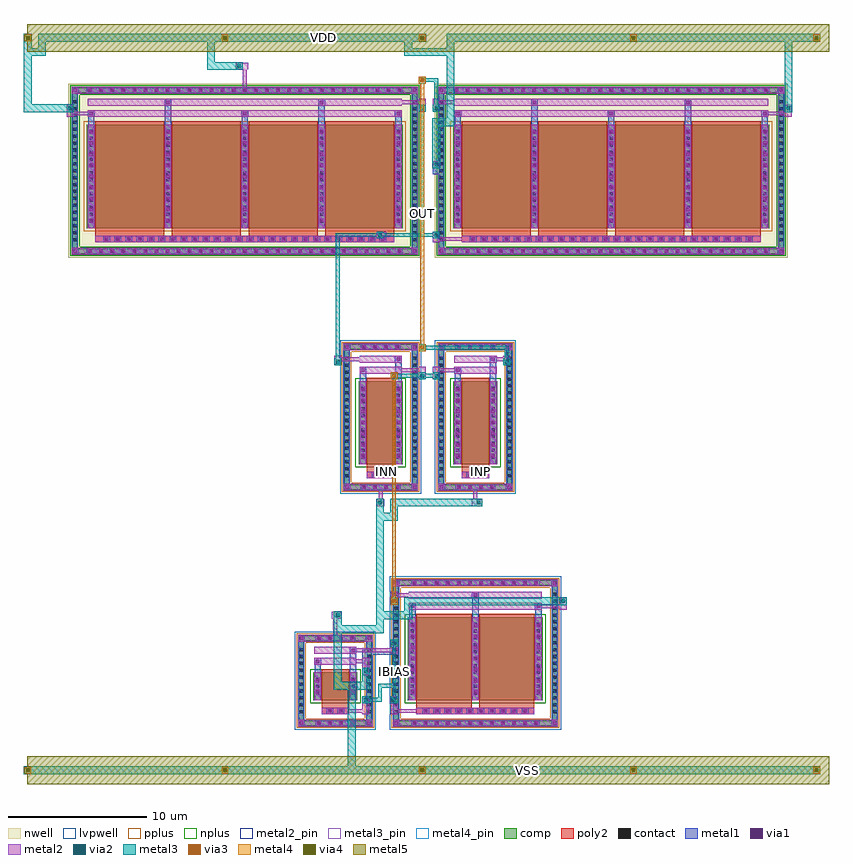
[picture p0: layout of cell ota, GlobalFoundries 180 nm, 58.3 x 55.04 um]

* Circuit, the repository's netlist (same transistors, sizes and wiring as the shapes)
* ox-alpha OTA -- 5T NMOS-input OTA, PMOS mirror load, IBIAS-driven tail
* topology: differential pair XM1/XM2, mirror load XM3/XM4,
* tail XMTAIL mirrored from external IBIAS via diode XMBIAS
.lib "{PDK_LIB}" typical
.subckt ota VDD VSS INP INN OUT IBIAS
XMBIAS IBIAS IBIAS VSS VSS nfet_03v3 W=2.0u L=2.0u nf=1
XMTAIL tail IBIAS VSS VSS nfet_03v3 W=12.0u L=4.0u nf=2
XM1 n1 INN tail VSS nfet_03v3 W=6.0u L=2.0u nf=1
XM2 OUT INP tail VSS nfet_03v3 W=6.0u L=2.0u nf=1
XM3 n1 n1 VDD VDD pfet_03v3 W=30.0u L=5.0u nf=4
XM4 OUT n1 VDD VDD pfet_03v3 W=30.0u L=5.0u nf=4
.ends

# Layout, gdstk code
import gdstk
lib = gdstk.Library(unit=1e-6, precision=1e-09)
def R(c, l, rs):  # rectangles x0, y0, x1, y1
    for r in rs: c.add(gdstk.rectangle(r[:2], r[2:], *l))
def A(c, l, x, y, w, h, nx, ny, dx, dy):  # array of equal rectangles
    R(c, l, [(x+i*dx, y+j*dy, x+i*dx+w, y+j*dy+h) for i in range(nx) for j in range(ny)])
def P(c, l, *ps):  # polygons
    for p in ps: c.add(gdstk.Polygon(p, *l))
nwell = (21, 0)
comp = (22, 0)
poly2 = (30, 0)
pplus = (31, 0)
nplus = (32, 0)
contact = (33, 0)
metal1 = (34, 0)
via1 = (35, 0)
metal2 = (36, 0)
metal2_pin = (36, 10)
via2 = (38, 0)
via3 = (40, 0)
via4 = (41, 0)
metal3 = (42, 0)
metal3_pin = (42, 10)
metal4 = (46, 0)
metal4_pin = (46, 10)
metal5 = (81, 0)
lvpwell = (204, 0)

ota = lib.new_cell('ota')
R(ota, nwell, [(-26.04,34.18,-0.5,46.77), (0.5,34.18,26.04,46.77)])
A(ota, comp, -8.09, 0.28, 0.36, 0.36, 4, 2, 0.8, 6.17)
A(ota, comp, -1.15, 0.28, 0.36, 0.36, 12, 2, 0.8, 10.17)
A(ota, comp, -9.36, 1.115, 0.36, 0.36, 1, 10, 0, 0.5)
A(ota, comp, -4.42, 1.115, 0.36, 0.36, 1, 10, 0, 0.5)
A(ota, comp, -2.5, 1.115, 0.36, 0.36, 1, 18, 0, 0.5)
A(ota, comp, 9, 1.115, 0.36, 0.36, 1, 18, 0, 0.5)
A(ota, comp, -4.81, 17.37, 0.36, 0.36, 4, 2, 0.8, 10.17)
A(ota, comp, 2.05, 17.37, 0.36, 0.36, 4, 2, 0.8, 10.17)
A(ota, comp, -6.08, 18.205, 0.36, 0.36, 1, 18, 0, 0.5)
A(ota, comp, -1.14, 18.205, 0.36, 0.36, 1, 18, 0, 0.5)
A(ota, comp, 0.78, 18.205, 0.36, 0.36, 1, 18, 0, 0.5)
A(ota, comp, 5.72, 18.205, 0.36, 0.36, 1, 18, 0, 0.5)
A(ota, comp, -24.65, 34.46, 0.36, 0.36, 29, 2, 0.8, 11.67)
A(ota, comp, 1.89, 34.46, 0.36, 0.36, 29, 2, 0.8, 11.67)
A(ota, comp, -25.76, 35.295, 0.36, 0.36, 1, 21, 0, 0.5)
A(ota, comp, -1.14, 35.295, 0.36, 0.36, 1, 21, 0, 0.5)
A(ota, comp, 0.78, 35.295, 0.36, 0.36, 1, 21, 0, 0.5)
A(ota, comp, 25.4, 35.295, 0.36, 0.36, 1, 21, 0, 0.5)
R(ota, comp, [(-8.09,0.28,-5.33,0.64), (-1.15,0.28,8.01,0.64), (-9.36,1.115,-9,5.975), (-4.42,1.115,-4.06,5.975), (-2.5,1.115,-2.14,9.975), (9,1.115,9.36,9.975), (-8.31,2.14,-5.11,4.14), (-1.45,2.14,8.31,8.14), (-8.09,6.45,-5.33,6.81), (-1.15,10.45,8.01,10.81), (-4.81,17.37,-2.05,17.73), (2.05,17.37,4.81,17.73), (-6.08,18.205,-5.72,27.065), (-1.14,18.205,-0.78,27.065), (0.78,18.205,1.14,27.065), (5.72,18.205,6.08,27.065), (-5.03,19.23,-1.83,25.23), (1.83,19.23,5.03,25.23), (-4.81,27.54,-2.05,27.9), (2.05,27.54,4.81,27.9), (-24.65,34.46,-1.89,34.82), (1.89,34.46,24.65,34.82), (-25.76,35.295,-25.4,45.655), (-1.14,35.295,-0.78,45.655), (0.78,35.295,1.14,45.655), (25.4,35.295,25.76,45.655), (-24.71,36.32,-1.83,43.82), (1.83,36.32,24.71,43.82), (-24.65,46.13,-1.89,46.49), (1.89,46.13,24.65,46.49)])
P(ota, comp, [(-4.06,6.81),(-9.36,6.81),(-9.36,0.64),(-9,0.64),(-9,6.45),(-4.42,6.45),(-4.42,0.64),(-9,0.64),(-9.36,0.64),(-9.36,0.28),(-4.06,0.28)],
  [(25.76,46.49),(0.78,46.49),(0.78,34.82),(1.14,34.82),(1.14,46.13),(25.4,46.13),(25.4,34.82),(1.14,34.82),(0.78,34.82),(0.78,34.46),(25.76,34.46)],
  [(-0.78,46.49),(-25.76,46.49),(-25.76,34.82),(-25.4,34.82),(-25.4,46.13),(-1.14,46.13),(-1.14,34.82),(-25.4,34.82),(-25.76,34.82),(-25.76,34.46),(-0.78,34.46)],
  [(6.08,27.9),(0.78,27.9),(0.78,17.73),(1.14,17.73),(1.14,27.54),(5.72,27.54),(5.72,17.73),(1.14,17.73),(0.78,17.73),(0.78,17.37),(6.08,17.37)],
  [(-0.78,27.9),(-6.08,27.9),(-6.08,17.73),(-5.72,17.73),(-5.72,27.54),(-1.14,27.54),(-1.14,17.73),(-5.72,17.73),(-6.08,17.73),(-6.08,17.37),(-0.78,17.37)],
  [(9.36,10.81),(-2.5,10.81),(-2.5,0.64),(-2.14,0.64),(-2.14,10.45),(9,10.45),(9,0.64),(-2.14,0.64),(-2.5,0.64),(-2.5,0.28),(9.36,0.28)])
A(ota, poly2, -0.35, 1.17, 0.36, 0.36, 10, 1, 0.8, 0)
A(ota, poly2, -23.45, 35.35, 0.36, 0.36, 26, 1, 0.8, 0)
A(ota, poly2, 3.09, 35.35, 0.36, 0.36, 26, 1, 0.8, 0)
A(ota, poly2, -24.11, 35.78, 5, 0.3, 4, 1, 5.56, 0)
A(ota, poly2, 2.43, 35.78, 5, 0.3, 4, 1, 5.56, 0)
A(ota, poly2, -24.11, 36.08, 5, 7.98, 4, 1, 5.56, 0)
A(ota, poly2, 2.43, 36.08, 5, 7.98, 4, 1, 5.56, 0)
R(ota, poly2, [(-7.71,1.1,-5.71,1.6), (-0.85,1.1,7.71,1.6), (-7.29,1.17,-6.93,1.53), (-6.49,1.17,-6.13,1.53), (-7.71,1.6,-5.71,1.9), (-0.85,1.6,3.15,1.9), (3.71,1.6,7.71,1.9), (-7.71,1.9,-5.71,4.38), (-0.85,1.9,3.15,8.38), (3.71,1.9,7.71,8.38), (-4.43,18.19,-2.43,18.69), (2.43,18.19,4.43,18.69), (-4.01,18.26,-3.65,18.62), (-3.21,18.26,-2.85,18.62), (2.85,18.26,3.21,18.62), (3.65,18.26,4.01,18.62), (-4.43,18.69,-2.43,18.99), (2.43,18.69,4.43,18.99), (-4.43,18.99,-2.43,25.47), (2.43,18.99,4.43,25.47), (-24.11,35.28,-2.43,35.78), (2.43,35.28,24.11,35.78)])
R(ota, pplus, [(-24.94,36.09,-1.6,44.05), (1.6,36.09,24.94,44.05)])
P(ota, pplus, [(-3.9,6.97),(-9.52,6.97),(-9.52,0.8),(-8.84,0.8),(-8.84,6.29),(-4.58,6.29),(-4.58,0.8),(-8.84,0.8),(-9.52,0.8),(-9.52,0.12),(-3.9,0.12)],
  [(6.24,28.06),(0.62,28.06),(0.62,17.89),(1.3,17.89),(1.3,27.38),(5.56,27.38),(5.56,17.89),(1.3,17.89),(0.62,17.89),(0.62,17.21),(6.24,17.21)],
  [(-0.62,28.06),(-6.24,28.06),(-6.24,17.89),(-5.56,17.89),(-5.56,27.38),(-1.3,27.38),(-1.3,17.89),(-5.56,17.89),(-6.24,17.89),(-6.24,17.21),(-0.62,17.21)],
  [(9.52,10.97),(-2.66,10.97),(-2.66,0.8),(-1.98,0.8),(-1.98,10.29),(8.84,10.29),(8.84,0.8),(-1.98,0.8),(-2.66,0.8),(-2.66,0.12),(9.52,0.12)])
R(ota, nplus, [(-8.54,1.91,-4.88,4.37), (-1.68,1.91,8.54,8.37), (-5.26,19,-1.6,25.46), (1.6,19,5.26,25.46)])
P(ota, nplus, [(25.92,46.65),(0.62,46.65),(0.62,34.98),(1.3,34.98),(1.3,45.97),(25.24,45.97),(25.24,34.98),(1.3,34.98),(0.62,34.98),(0.62,34.3),(25.92,34.3)],
  [(-0.62,46.65),(-25.92,46.65),(-25.92,34.98),(-25.24,34.98),(-25.24,45.97),(-1.3,45.97),(-1.3,34.98),(-25.24,34.98),(-25.92,34.98),(-25.92,34.3),(-0.62,34.3)])
A(ota, contact, -8.02, 0.35, 0.22, 0.22, 4, 2, 0.8, 6.17)
A(ota, contact, -1.08, 0.35, 0.22, 0.22, 12, 2, 0.8, 10.17)
A(ota, contact, -9.29, 1.185, 0.22, 0.22, 1, 10, 0, 0.5)
A(ota, contact, -4.35, 1.185, 0.22, 0.22, 1, 10, 0, 0.5)
A(ota, contact, -2.43, 1.185, 0.22, 0.22, 1, 18, 0, 0.5)
A(ota, contact, 9.07, 1.185, 0.22, 0.22, 1, 18, 0, 0.5)
A(ota, contact, -0.28, 1.24, 0.22, 0.22, 10, 1, 0.8, 0)
A(ota, contact, -8.1, 2.53, 0.22, 0.22, 1, 3, 0, 0.5)
A(ota, contact, -5.54, 2.53, 0.22, 0.22, 1, 3, 0, 0.5)
A(ota, contact, -1.24, 2.53, 0.22, 0.22, 3, 11, 4.56, 0.5)
A(ota, contact, -4.74, 17.44, 0.22, 0.22, 4, 2, 0.8, 10.17)
A(ota, contact, 2.12, 17.44, 0.22, 0.22, 4, 2, 0.8, 10.17)
A(ota, contact, -6.01, 18.275, 0.22, 0.22, 1, 18, 0, 0.5)
A(ota, contact, -1.07, 18.275, 0.22, 0.22, 1, 18, 0, 0.5)
A(ota, contact, 0.85, 18.275, 0.22, 0.22, 1, 18, 0, 0.5)
A(ota, contact, 5.79, 18.275, 0.22, 0.22, 1, 18, 0, 0.5)
A(ota, contact, -4.82, 19.62, 0.22, 0.22, 1, 11, 0, 0.5)
A(ota, contact, -2.26, 19.62, 0.22, 0.22, 1, 11, 0, 0.5)
A(ota, contact, 2.04, 19.62, 0.22, 0.22, 1, 11, 0, 0.5)
A(ota, contact, 4.6, 19.62, 0.22, 0.22, 1, 11, 0, 0.5)
A(ota, contact, -24.58, 34.53, 0.22, 0.22, 29, 2, 0.8, 11.67)
A(ota, contact, 1.96, 34.53, 0.22, 0.22, 29, 2, 0.8, 11.67)
A(ota, contact, -25.69, 35.365, 0.22, 0.22, 1, 21, 0, 0.5)
A(ota, contact, -1.07, 35.365, 0.22, 0.22, 1, 21, 0, 0.5)
A(ota, contact, 0.85, 35.365, 0.22, 0.22, 1, 21, 0, 0.5)
A(ota, contact, 25.47, 35.365, 0.22, 0.22, 1, 21, 0, 0.5)
A(ota, contact, -23.38, 35.42, 0.22, 0.22, 26, 1, 0.8, 0)
A(ota, contact, 3.16, 35.42, 0.22, 0.22, 26, 1, 0.8, 0)
A(ota, contact, -24.5, 36.71, 0.22, 0.22, 5, 14, 5.56, 0.5)
A(ota, contact, 2.04, 36.71, 0.22, 0.22, 5, 14, 5.56, 0.5)
R(ota, contact, [(-7.22,1.24,-7,1.46), (-6.42,1.24,-6.2,1.46), (-3.94,18.33,-3.72,18.55), (-3.14,18.33,-2.92,18.55), (2.92,18.33,3.14,18.55), (3.72,18.33,3.94,18.55)])
A(ota, metal1, -8.16, 0.21, 0.5, 0.5, 4, 2, 0.8, 6.17)
A(ota, metal1, -1.22, 0.21, 0.5, 0.5, 12, 2, 0.8, 10.17)
A(ota, metal1, -9.41, 1.065, 0.46, 0.46, 1, 10, 0, 0.5)
A(ota, metal1, -4.47, 1.065, 0.46, 0.46, 1, 10, 0, 0.5)
A(ota, metal1, -2.55, 1.065, 0.46, 0.46, 1, 18, 0, 0.5)
A(ota, metal1, 8.95, 1.065, 0.46, 0.46, 1, 18, 0, 0.5)
A(ota, metal1, -0.42, 1.1, 0.5, 0.5, 10, 1, 0.8, 0)
A(ota, metal1, -1.36, 2.14, 0.46, 6, 3, 1, 4.56, 0)
A(ota, metal1, -8.22, 2.41, 0.46, 0.46, 1, 3, 0, 0.5)
A(ota, metal1, -5.66, 2.41, 0.46, 0.46, 1, 3, 0, 0.5)
A(ota, metal1, -1.36, 2.41, 0.46, 0.46, 3, 11, 4.56, 0.5)
A(ota, metal1, -1.38, 2.49, 0.5, 0.5, 3, 7, 4.56, 0.8)
A(ota, metal1, -1.38, 2.49, 0.5, 5.3, 3, 1, 4.56, 0)
A(ota, metal1, -4.88, 17.3, 0.5, 0.5, 4, 2, 0.8, 10.17)
A(ota, metal1, 1.98, 17.3, 0.5, 0.5, 4, 2, 0.8, 10.17)
A(ota, metal1, -6.13, 18.155, 0.46, 0.46, 1, 18, 0, 0.5)
A(ota, metal1, -1.19, 18.155, 0.46, 0.46, 1, 18, 0, 0.5)
A(ota, metal1, 0.73, 18.155, 0.46, 0.46, 1, 18, 0, 0.5)
A(ota, metal1, 5.67, 18.155, 0.46, 0.46, 1, 18, 0, 0.5)
A(ota, metal1, -4.94, 19.5, 0.46, 0.46, 1, 11, 0, 0.5)
A(ota, metal1, -2.38, 19.5, 0.46, 0.46, 1, 11, 0, 0.5)
A(ota, metal1, 1.92, 19.5, 0.46, 0.46, 1, 11, 0, 0.5)
A(ota, metal1, 4.48, 19.5, 0.46, 0.46, 1, 11, 0, 0.5)
A(ota, metal1, -4.96, 19.58, 0.5, 0.5, 1, 7, 0, 0.8)
A(ota, metal1, -2.4, 19.58, 0.5, 0.5, 1, 7, 0, 0.8)
A(ota, metal1, 1.9, 19.58, 0.5, 0.5, 1, 7, 0, 0.8)
A(ota, metal1, 4.46, 19.58, 0.5, 0.5, 1, 7, 0, 0.8)
A(ota, metal1, -24.72, 34.39, 0.5, 0.5, 29, 2, 0.8, 11.67)
A(ota, metal1, 1.82, 34.39, 0.5, 0.5, 29, 2, 0.8, 11.67)
A(ota, metal1, -25.81, 35.245, 0.46, 0.46, 1, 21, 0, 0.5)
A(ota, metal1, -1.19, 35.245, 0.46, 0.46, 1, 21, 0, 0.5)
A(ota, metal1, 0.73, 35.245, 0.46, 0.46, 1, 21, 0, 0.5)
A(ota, metal1, 25.35, 35.245, 0.46, 0.46, 1, 21, 0, 0.5)
A(ota, metal1, -23.52, 35.28, 0.5, 0.5, 26, 1, 0.8, 0)
A(ota, metal1, 3.02, 35.28, 0.5, 0.5, 26, 1, 0.8, 0)
A(ota, metal1, -24.62, 36.32, 0.46, 7.5, 5, 1, 5.56, 0)
A(ota, metal1, 1.92, 36.32, 0.46, 7.5, 5, 1, 5.56, 0)
A(ota, metal1, -24.62, 36.59, 0.46, 0.46, 5, 14, 5.56, 0.5)
A(ota, metal1, 1.92, 36.59, 0.46, 0.46, 5, 14, 5.56, 0.5)
A(ota, metal1, -24.64, 36.62, 0.5, 0.5, 5, 9, 5.56, 0.8)
A(ota, metal1, -24.64, 36.62, 0.5, 6.9, 5, 1, 5.56, 0)
A(ota, metal1, 1.9, 36.62, 0.5, 0.5, 5, 9, 5.56, 0.8)
A(ota, metal1, 1.9, 36.62, 0.5, 6.9, 5, 1, 5.56, 0)
A(ota, metal1, -24.62, 43.82, 0.46, 1.05, 3, 1, 11.12, 0)
A(ota, metal1, 1.92, 43.82, 0.46, 1.05, 3, 1, 11.12, 0)
A(ota, metal1, -24.64, 44.37, 0.5, 0.5, 3, 1, 11.12, 0)
A(ota, metal1, 1.9, 44.37, 0.5, 0.5, 3, 1, 11.12, 0)
R(ota, metal1, [(-9.41,0.21,-8.91,0.71), (-9.41,0.21,-8.91,0.71), (-9.41,0.21,-8.95,0.64), (-8.16,0.21,-5.26,0.71), (-4.51,0.21,-4.01,0.71), (-4.51,0.21,-4.01,0.71), (-4.47,0.21,-4.01,0.64), (-2.55,0.21,-2.05,0.71), (-2.55,0.21,-2.05,0.71), (-2.55,0.21,-2.09,0.64), (-1.22,0.21,8.08,0.71), (8.91,0.21,9.41,0.71), (8.91,0.21,9.41,0.71), (8.95,0.21,9.41,0.64), (-9.41,0.64,-8.95,6.45), (-4.47,0.64,-4.01,6.45), (-2.55,0.64,-2.09,10.45), (8.95,0.64,9.41,10.45), (-7.36,1.1,-6.86,1.6), (-6.56,1.1,-6.06,1.6), (-8.22,2.14,-7.76,4.14), (-5.66,2.14,-5.2,4.14), (-8.24,2.49,-7.74,2.99), (-8.24,2.49,-7.74,3.79), (-5.68,2.49,-5.18,2.99), (-5.68,2.49,-5.18,3.79), (-8.24,3.29,-7.74,3.79), (-5.68,3.29,-5.18,3.79), (-4.75,3.95,-4.25,5.79), (-4.75,3.95,-4.25,5.79), (-8.22,4.14,-7.76,5.19), (-5.66,4.14,-5.2,5.99), (-8.24,4.69,-7.74,5.19), (-4.615,5.425,-2.435,5.655), (-4.615,5.425,-2.435,5.655), (-5.68,5.49,-5.18,5.99), (-9.41,6.38,-8.91,6.88), (-9.41,6.38,-8.91,6.88), (-8.16,6.38,-5.26,6.88), (-4.51,6.38,-4.01,6.88), (-4.51,6.38,-4.01,6.88), (-9.41,6.45,-8.95,6.88), (-4.47,6.45,-4.01,6.88), (-1.36,8.14,-0.9,9.19), (3.2,8.14,3.66,9.99), (7.76,8.14,8.22,9.19), (-1.38,8.69,-0.88,9.19), (7.74,8.69,8.24,9.19), (3.18,9.49,3.68,9.99), (-2.55,10.38,-2.05,10.88), (-2.55,10.38,-2.05,10.88), (-1.22,10.38,8.08,10.88), (8.91,10.38,9.41,10.88), (8.91,10.38,9.41,10.88), (-2.55,10.45,-2.09,10.88), (8.95,10.45,9.41,10.88), (-6.13,17.3,-5.63,17.8), (-6.13,17.3,-5.63,17.8), (-6.13,17.3,-5.67,17.73), (-4.88,17.3,-1.98,17.8), (-1.23,17.3,-0.73,17.8), (-1.23,17.3,-0.73,17.8), (-1.19,17.3,-0.73,17.73), (0.73,17.3,1.23,17.8), (0.73,17.3,1.23,17.8), (0.73,17.3,1.19,17.73), (1.98,17.3,4.88,17.8), (5.63,17.3,6.13,17.8), (5.63,17.3,6.13,17.8), (5.67,17.3,6.13,17.73), (-6.13,17.73,-5.67,27.54), (-1.19,17.73,-0.73,27.54), (0.73,17.73,1.19,27.54), (5.67,17.73,6.13,27.54), (-4.08,18.19,-3.58,18.69), (-3.28,18.19,-2.78,18.69), (2.78,18.19,3.28,18.69), (3.58,18.19,4.08,18.69), (-4.94,19.23,-4.48,25.23), (-2.38,19.23,-1.92,25.23), (1.92,19.23,2.38,25.23), (4.48,19.23,4.94,25.23), (-4.96,19.58,-4.46,24.88), (-2.4,19.58,-1.9,24.88), (1.9,19.58,2.4,24.88), (4.46,19.58,4.96,24.88), (-4.94,25.23,-4.48,26.28), (-2.38,25.23,-1.92,27.08), (1.92,25.23,2.38,26.28), (4.48,25.23,4.94,27.08), (-4.96,25.78,-4.46,26.28), (1.9,25.78,2.4,26.28), (-2.4,26.58,-1.9,27.08), (4.46,26.58,4.96,27.08), (-6.13,27.47,-5.63,27.97), (-6.13,27.47,-5.63,27.97), (-4.88,27.47,-1.98,27.97), (-1.23,27.47,-0.73,27.97), (-1.23,27.47,-0.73,27.97), (0.73,27.47,1.23,27.97), (0.73,27.47,1.23,27.97), (1.98,27.47,4.88,27.97), (5.63,27.47,6.13,27.97), (5.63,27.47,6.13,27.97), (-6.13,27.54,-5.67,27.97), (-1.19,27.54,-0.73,27.97), (0.73,27.54,1.19,27.97), (5.67,27.54,6.13,27.97), (-25.81,34.39,-25.31,34.89), (-25.81,34.39,-25.31,34.89), (-25.81,34.39,-25.35,34.82), (-24.72,34.39,-1.82,34.89), (-1.23,34.39,-0.73,34.89), (-1.23,34.39,-0.73,34.89), (-1.19,34.39,-0.73,34.82), (0.73,34.39,1.23,34.89), (0.73,34.39,1.23,34.89), (0.73,34.39,1.19,34.82), (1.82,34.39,24.72,34.89), (25.31,34.39,25.81,34.89), (25.31,34.39,25.81,34.89), (25.35,34.39,25.81,34.82), (-25.81,34.82,-25.35,46.13), (-1.19,34.82,-0.73,46.13), (0.73,34.82,1.19,46.13), (25.35,34.82,25.81,46.13), (0.73,40.205,0.845,40.365), (0.73,40.205,0.85,40.23), (0.35,40.23,0.85,41.17), (0.485,40.365,0.845,40.595), (0.73,40.595,0.845,40.745), (0.35,40.67,0.85,41.17), (0.73,41.17,0.85,41.245), (-19.06,43.82,-18.6,45.67), (-7.94,43.82,-7.48,45.67), (7.48,43.82,7.94,45.67), (18.6,43.82,19.06,45.67), (-19.08,45.17,-18.58,45.67), (-7.96,45.17,-7.46,45.67), (7.46,45.17,7.96,45.67), (18.58,45.17,19.08,45.67), (-25.81,46.06,-25.31,46.56), (-25.81,46.06,-25.31,46.56), (-24.72,46.06,-1.82,46.56), (-1.23,46.06,-0.73,46.56), (-1.23,46.06,-0.73,46.56), (0.73,46.06,1.23,46.56), (0.73,46.06,1.23,46.56), (1.82,46.06,24.72,46.56), (25.31,46.06,25.81,46.56), (25.31,46.06,25.81,46.56), (-25.81,46.13,-25.35,46.56), (-1.19,46.13,-0.73,46.56), (0.73,46.13,1.19,46.56), (25.35,46.13,25.81,46.56)])
A(ota, via1, -8.04, 0.33, 0.26, 0.26, 4, 2, 0.8, 6.17)
A(ota, via1, -1.1, 0.33, 0.26, 0.26, 12, 2, 0.8, 10.17)
A(ota, via1, -0.3, 1.22, 0.26, 0.26, 10, 1, 0.8, 0)
A(ota, via1, -1.26, 2.61, 0.26, 0.26, 3, 7, 4.56, 0.8)
A(ota, via1, -4.76, 17.42, 0.26, 0.26, 4, 2, 0.8, 10.17)
A(ota, via1, 2.1, 17.42, 0.26, 0.26, 4, 2, 0.8, 10.17)
A(ota, via1, -4.84, 19.7, 0.26, 0.26, 1, 7, 0, 0.8)
A(ota, via1, -2.28, 19.7, 0.26, 0.26, 1, 7, 0, 0.8)
A(ota, via1, 2.02, 19.7, 0.26, 0.26, 1, 7, 0, 0.8)
A(ota, via1, 4.58, 19.7, 0.26, 0.26, 1, 7, 0, 0.8)
A(ota, via1, -24.6, 34.51, 0.26, 0.26, 29, 2, 0.8, 11.67)
A(ota, via1, 1.94, 34.51, 0.26, 0.26, 29, 2, 0.8, 11.67)
A(ota, via1, -23.4, 35.4, 0.26, 0.26, 26, 1, 0.8, 0)
A(ota, via1, 3.14, 35.4, 0.26, 0.26, 26, 1, 0.8, 0)
A(ota, via1, -24.52, 36.74, 0.26, 0.26, 5, 9, 5.56, 0.8)
A(ota, via1, 2.02, 36.74, 0.26, 0.26, 5, 9, 5.56, 0.8)
A(ota, via1, -24.52, 44.49, 0.26, 0.26, 3, 1, 11.12, 0)
A(ota, via1, 2.02, 44.49, 0.26, 0.26, 3, 1, 11.12, 0)
R(ota, via1, [(-9.29,0.33,-9.03,0.59), (-4.39,0.33,-4.13,0.59), (-2.43,0.33,-2.17,0.59), (9.03,0.33,9.29,0.59), (-7.24,1.22,-6.98,1.48), (-6.44,1.22,-6.18,1.48), (-8.12,2.61,-7.86,2.87), (-5.56,2.61,-5.3,2.87), (-8.12,3.41,-7.86,3.67), (-5.56,3.41,-5.3,3.67), (-8.12,4.81,-7.86,5.07), (-5.56,5.61,-5.3,5.87), (-9.29,6.5,-9.03,6.76), (-4.39,6.5,-4.13,6.76), (-1.26,8.81,-1,9.07), (7.86,8.81,8.12,9.07), (3.3,9.61,3.56,9.87), (-2.43,10.5,-2.17,10.76), (9.03,10.5,9.29,10.76), (-6.01,17.42,-5.75,17.68), (-1.11,17.42,-0.85,17.68), (0.85,17.42,1.11,17.68), (5.75,17.42,6.01,17.68), (-3.96,18.31,-3.7,18.57), (-3.16,18.31,-2.9,18.57), (2.9,18.31,3.16,18.57), (3.7,18.31,3.96,18.57), (-4.84,25.9,-4.58,26.16), (2.02,25.9,2.28,26.16), (-2.28,26.7,-2.02,26.96), (4.58,26.7,4.84,26.96), (-6.01,27.59,-5.75,27.85), (-1.11,27.59,-0.85,27.85), (0.85,27.59,1.11,27.85), (5.75,27.59,6.01,27.85), (-25.69,34.51,-25.43,34.77), (-1.11,34.51,-0.85,34.77), (0.85,34.51,1.11,34.77), (25.43,34.51,25.69,34.77), (0.47,40.79,0.73,41.05), (-18.96,45.29,-18.7,45.55), (-7.84,45.29,-7.58,45.55), (7.58,45.29,7.84,45.55), (18.7,45.29,18.96,45.55), (-25.69,46.18,-25.43,46.44), (-1.11,46.18,-0.85,46.44), (0.85,46.18,1.11,46.44), (25.43,46.18,25.69,46.44)])
A(ota, metal2, -8.16, 0.21, 0.5, 0.5, 4, 2, 0.8, 6.17)
A(ota, metal2, -1.22, 0.21, 0.5, 0.5, 12, 2, 0.8, 10.17)
A(ota, metal2, -0.42, 1.1, 0.5, 0.5, 10, 1, 0.8, 0)
A(ota, metal2, -1.38, 2.14, 0.5, 6, 3, 1, 4.56, 0)
A(ota, metal2, -1.38, 2.49, 0.5, 0.5, 3, 7, 4.56, 0.8)
A(ota, metal2, -4.88, 17.3, 0.5, 0.5, 4, 2, 0.8, 10.17)
A(ota, metal2, 1.98, 17.3, 0.5, 0.5, 4, 2, 0.8, 10.17)
A(ota, metal2, -4.96, 19.58, 0.5, 0.5, 1, 7, 0, 0.8)
A(ota, metal2, -2.4, 19.58, 0.5, 0.5, 1, 7, 0, 0.8)
A(ota, metal2, 1.9, 19.58, 0.5, 0.5, 1, 7, 0, 0.8)
A(ota, metal2, 4.46, 19.58, 0.5, 0.5, 1, 7, 0, 0.8)
A(ota, metal2, -24.72, 34.39, 0.5, 0.5, 29, 2, 0.8, 11.67)
A(ota, metal2, 1.82, 34.39, 0.5, 0.5, 29, 2, 0.8, 11.67)
A(ota, metal2, -23.52, 35.28, 0.5, 0.5, 26, 1, 0.8, 0)
A(ota, metal2, 3.02, 35.28, 0.5, 0.5, 26, 1, 0.8, 0)
A(ota, metal2, -24.64, 36.32, 0.5, 7.5, 5, 1, 5.56, 0)
A(ota, metal2, 1.9, 36.32, 0.5, 7.5, 5, 1, 5.56, 0)
A(ota, metal2, -24.64, 36.62, 0.5, 0.5, 5, 9, 5.56, 0.8)
A(ota, metal2, 1.9, 36.62, 0.5, 0.5, 5, 9, 5.56, 0.8)
A(ota, metal2, -24.64, 44.37, 0.5, 0.5, 3, 1, 11.12, 0)
A(ota, metal2, 1.9, 44.37, 0.5, 0.5, 3, 1, 11.12, 0)
R(ota, metal2, [(-9.41,0.21,-8.91,0.71), (-9.41,0.21,-8.91,0.71), (-9.41,0.21,-9,0.71), (-9,0.21,-4.42,0.71), (-4.51,0.21,-4.01,0.71), (-4.51,0.21,-4.01,0.71), (-4.42,0.21,-4.01,0.71), (-2.55,0.21,-2.05,0.71), (-2.55,0.21,-2.05,0.71), (-2.55,0.21,-2.14,0.71), (-2.14,0.21,9,0.71), (8.91,0.21,9.41,0.71), (8.91,0.21,9.41,0.71), (9,0.21,9.41,0.71), (-7.71,1.1,-5.71,1.6), (-7.36,1.1,-6.86,1.6), (-6.56,1.1,-6.06,1.6), (-4.75,1.1,-4.25,2.41), (-2.71,1.1,-2.21,2.41), (-0.85,1.1,7.71,1.6), (-6.06,1.21,-5.85,1.49), (-5.85,1.21,-4.36,1.49), (-2.6,1.21,-0.71,1.49), (-0.71,1.21,-0.42,1.49), (-4.75,1.91,-4.25,2.41), (-2.71,1.91,-2.21,2.41), (-8.24,2.14,-7.74,4.14), (-5.68,2.14,-5.18,4.14), (-8.24,2.49,-7.74,2.99), (-5.68,2.49,-5.18,2.99), (-8.24,3.29,-7.74,3.79), (-5.68,3.29,-5.18,3.79), (-4.75,3.95,-4.25,5.19), (-4.75,3.95,-4.25,5.19), (-4.75,3.95,-4.25,4.45), (-8.24,4.69,-7.74,5.19), (-8.24,4.69,-5.18,5.19), (-5.32,4.8,-4.36,5.08), (-5.32,4.8,-4.36,5.08), (-8.24,5.49,-5.18,5.99), (-5.68,5.49,-5.18,5.99), (-2.71,5.49,-2.21,6.49), (-5.32,5.6,-2.32,5.88), (-2.71,5.99,-2.21,6.49), (-9.41,6.38,-8.91,6.88), (-9.41,6.38,-8.91,6.88), (-9.41,6.38,-9,6.88), (-9,6.38,-4.42,6.88), (-4.51,6.38,-4.01,6.88), (-4.51,6.38,-4.01,6.88), (-4.42,6.38,-4.01,6.88), (-6.86,6.74,-6.85,6.88), (-6.85,6.74,-6.57,8.42), (-6.57,6.74,-6.56,6.88), (-6.96,8.03,-6.29,8.53), (-6.79,8.03,-6.29,8.53), (-1.38,8.69,-0.88,9.19), (-1.38,8.69,8.24,9.19), (7.74,8.69,8.24,9.19), (9.53,8.69,10.03,9.55), (8.1,8.8,9.92,9.08), (-2.71,9.05,-2.21,9.99), (-2.71,9.05,-2.21,9.55), (9.53,9.05,10.03,9.55), (-1.38,9.49,8.24,9.99), (3.18,9.49,3.68,9.99), (-2.6,9.6,-1.24,9.88), (-2.55,10.38,-2.05,10.88), (-2.55,10.38,-2.05,10.88), (-2.55,10.38,-2.14,10.88), (-2.14,10.38,9,10.88), (8.91,10.38,9.41,10.88), (8.91,10.38,9.41,10.88), (9,10.38,9.41,10.88), (-3.73,16.19,-3.18,16.69), (-3.73,16.19,-3.23,16.69), (3.18,16.19,3.91,16.69), (3.41,16.19,3.91,16.69), (-3.57,16.3,-3.29,17.44), (3.29,16.3,3.57,17.44), (-6.13,17.3,-5.63,17.8), (-6.13,17.3,-5.63,17.8), (-6.13,17.3,-5.72,17.8), (-5.72,17.3,-1.14,17.8), (-3.58,17.3,-3.57,17.44), (-3.29,17.3,-3.28,17.44), (-1.23,17.3,-0.73,17.8), (-1.23,17.3,-0.73,17.8), (-1.14,17.3,-0.73,17.8), (0.73,17.3,1.23,17.8), (0.73,17.3,1.23,17.8), (0.73,17.3,1.14,17.8), (1.14,17.3,5.72,17.8), (3.28,17.3,3.29,17.44), (3.57,17.3,3.58,17.44), (5.63,17.3,6.13,17.8), (5.63,17.3,6.13,17.8), (5.72,17.3,6.13,17.8), (-4.43,18.19,-2.43,18.69), (-4.08,18.19,-3.58,18.69), (-3.28,18.19,-2.78,18.69), (2.43,18.19,4.43,18.69), (2.78,18.19,3.28,18.69), (3.58,18.19,4.08,18.69), (-4.96,19.23,-4.46,25.23), (-2.4,19.23,-1.9,25.23), (1.9,19.23,2.4,25.23), (4.46,19.23,4.96,25.23), (-0.67,25.37,-0.17,26.28), (-0.67,25.37,-0.17,25.87), (0.35,25.37,0.85,26.28), (0.35,25.37,0.85,25.87), (-4.96,25.78,-4.46,26.28), (-4.96,25.78,-1.9,26.28), (1.9,25.78,2.4,26.28), (1.9,25.78,4.96,26.28), (-2.04,25.89,-0.28,26.17), (0.46,25.89,2.04,26.17), (-6.79,26.39,-6.29,27.08), (-6.79,26.39,-6.29,26.89), (5.45,26.39,5.95,27.08), (5.45,26.39,5.95,26.89), (-4.96,26.58,-1.9,27.08), (-2.4,26.58,-1.9,27.08), (1.9,26.58,4.96,27.08), (4.46,26.58,4.96,27.08), (-6.68,26.69,-4.82,26.97), (4.82,26.69,5.84,26.97), (-6.13,27.47,-5.63,27.97), (-6.13,27.47,-5.63,27.97), (-6.13,27.47,-5.72,27.97), (-5.72,27.47,-1.14,27.97), (-1.23,27.47,-0.73,27.97), (-1.23,27.47,-0.73,27.97), (-1.14,27.47,-0.73,27.97), (0.73,27.47,1.23,27.97), (0.73,27.47,1.23,27.97), (0.73,27.47,1.14,27.97), (1.14,27.47,5.72,27.97), (5.63,27.47,6.13,27.97), (5.63,27.47,6.13,27.97), (5.72,27.47,6.13,27.97), (-25.81,34.39,-25.31,34.89), (-25.81,34.39,-25.31,34.89), (-25.81,34.39,-25.4,34.89), (-25.4,34.39,-1.14,34.89), (-1.23,34.39,-0.73,34.89), (-1.23,34.39,-0.73,34.89), (-1.14,34.39,-0.73,34.89), (0.73,34.39,1.23,34.89), (0.73,34.39,1.23,34.89), (0.73,34.39,1.14,34.89), (1.14,34.39,25.4,34.89), (25.31,34.39,25.81,34.89), (25.31,34.39,25.81,34.89), (25.4,34.39,25.81,34.89), (-24.11,35.28,-2.43,35.78), (0.35,35.28,0.85,36.07), (2.43,35.28,24.11,35.78), (0.46,35.39,2.57,35.67), (-3.82,35.57,-3.73,35.78), (-3.73,35.57,-3.02,36.07), (-3.73,35.57,-3.23,36.07), (0.35,35.57,0.85,36.07), (-3.41,35.64,-3.13,35.96), (0.35,40.67,0.85,41.17), (-26.17,44.37,-25.67,45.25), (-24.64,44.37,-1.9,44.87), (1.9,44.37,24.64,44.87), (25.85,44.37,26.35,45.25), (-26.06,44.48,-24.5,44.76), (24.5,44.48,26.24,44.76), (-26.17,44.75,-25.67,45.25), (-0.67,44.75,-0.17,45.67), (-0.67,44.75,-0.17,45.25), (0.35,44.75,0.85,45.67), (0.35,44.75,0.85,45.25), (25.85,44.75,26.35,45.25), (-24.64,45.17,-1.9,45.67), (-19.08,45.17,-18.58,45.67), (-7.96,45.17,-7.46,45.67), (1.9,45.17,24.64,45.67), (7.46,45.17,7.96,45.67), (18.58,45.17,19.08,45.67), (-2.04,45.28,-0.28,45.56), (0.46,45.28,2.04,45.56), (-25.81,46.06,-25.31,46.56), (-25.81,46.06,-25.31,46.56), (-25.81,46.06,-25.4,46.56), (-25.4,46.06,-1.14,46.56), (-1.23,46.06,-0.73,46.56), (-1.23,46.06,-0.73,46.56), (-1.14,46.06,-0.73,46.56), (0.73,46.06,1.23,46.56), (0.73,46.06,1.23,46.56), (0.73,46.06,1.14,46.56), (1.14,46.06,25.4,46.56), (25.31,46.06,25.81,46.56), (25.31,46.06,25.81,46.56), (25.4,46.06,25.81,46.56), (-13.41,46.42,-13.13,48.2), (-13.93,47.81,-13.02,48.31), (-13.93,47.81,-13.43,48.31)])
R(ota, metal2_pin, [(-3.17,18.55,-2.89,18.83), (3.69,18.55,3.97,18.83)])
R(ota, via2, [(-4.63,2.03,-4.37,2.29), (-2.59,2.03,-2.33,2.29), (-4.63,4.07,-4.37,4.33), (-2.59,6.11,-2.33,6.37), (-6.67,8.15,-6.41,8.41), (-2.59,9.17,-2.33,9.43), (9.65,9.17,9.91,9.43), (-3.61,16.31,-3.35,16.57), (3.53,16.31,3.79,16.57), (-0.55,25.49,-0.29,25.75), (0.47,25.49,0.73,25.75), (-6.67,26.51,-6.41,26.77), (5.57,26.51,5.83,26.77), (-3.61,35.69,-3.35,35.95), (0.47,35.69,0.73,35.95), (0.47,40.79,0.73,41.05), (-26.05,44.87,-25.79,45.13), (-0.55,44.87,-0.29,45.13), (0.47,44.87,0.73,45.13), (25.97,44.87,26.23,45.13), (-13.81,47.93,-13.55,48.19)])
A(ota, via3, -29.11, -3.07, 0.26, 0.26, 3, 2, 14.28, 53.04)
R(ota, via3, [(14.75,-3.07,15.01,-2.81), (28.01,-3.07,28.27,-2.81), (-2.59,9.17,-2.33,9.43), (-2.59,25.49,-2.33,25.75), (-0.55,27.53,-0.29,27.79), (-0.55,46.91,-0.29,47.17), (14.75,49.97,15.01,50.23), (28.01,49.97,28.27,50.23)])
A(ota, via4, -29.11, -3.07, 0.26, 0.26, 3, 2, 14.28, 53.04)
R(ota, via4, [(14.75,-3.07,15.01,-2.81), (28.01,-3.07,28.27,-2.81), (14.75,49.97,15.01,50.23), (28.01,49.97,28.27,50.23)])
A(ota, metal3, -29.23, -3.19, 0.5, 0.5, 3, 2, 14.28, 53.04)
R(ota, metal3, [(-29.26,-3.22,-14.42,-2.66), (-14.98,-3.22,-0.14,-2.66), (-5.8,-3.22,-5.24,3.46), (-0.7,-3.22,15.16,-2.66), (14.6,-3.22,28.42,-2.66), (14.63,-3.19,15.13,-2.69), (27.89,-3.19,28.39,-2.69), (-4.75,1.91,-4.25,2.41), (-2.71,1.91,-2.21,2.41), (-4.64,2.02,-3.34,2.3), (-3.62,2.02,-3.34,3.32), (-2.6,2.02,-2.32,6.38), (-6.82,2.9,-5.24,3.46), (-6.82,2.9,-6.26,8.56), (-5.8,2.9,-4.22,3.46), (-4.78,2.9,-4.22,4.48), (-3.62,3.04,-2.32,3.32), (-4.75,3.95,-4.25,4.45), (-2.71,5.99,-2.21,6.49), (-6.82,6.98,-3.2,7.54), (-3.76,6.98,-3.2,16.72), (-3.76,8,-1.16,8.56), (-1.72,8,-1.16,9.58), (-6.79,8.03,-6.29,8.53), (-1.72,9.02,10.06,9.58), (-2.71,9.05,-2.21,9.55), (-2.71,9.05,-2.21,9.55), (9.53,9.05,10.03,9.55), (-3.76,15.14,-2.18,15.7), (-2.74,15.14,-2.18,16.72), (-2.74,16.16,3.94,16.72), (-3.73,16.19,-3.23,16.69), (3.41,16.19,3.91,16.69), (-2.71,25.37,-2.21,25.87), (-0.67,25.37,-0.17,25.87), (0.35,25.37,0.85,25.87), (-2.6,25.48,-0.28,25.76), (-0.56,25.48,0.74,25.76), (-6.79,26.39,-6.29,26.89), (5.45,26.39,5.95,26.89), (-6.68,26.5,-6.4,35.96), (5.56,26.5,5.84,27.8), (-0.67,27.41,-0.17,27.91), (-0.56,27.52,5.84,27.8), (-3.73,35.57,-3.23,36.07), (0.35,35.57,0.85,36.07), (-6.68,35.68,-3.34,35.96), (-3.62,35.68,0.74,35.96), (-0.56,35.68,-0.28,45.14), (0.32,40.64,0.88,44.26), (0.35,40.67,0.85,41.17), (0.32,43.7,1.9,44.26), (1.34,43.7,1.9,49.36), (-29.26,44.72,-28.7,50.38), (-29.26,44.72,-25.64,45.28), (25.82,44.72,26.38,50.38), (-26.17,44.75,-25.67,45.25), (-0.67,44.75,-0.17,45.25), (0.35,44.75,0.85,45.25), (25.85,44.75,26.35,45.25), (0.46,44.86,0.74,47.18), (-0.67,46.79,-0.17,47.29), (-0.56,46.9,0.74,47.18), (-16,47.78,-13.4,48.34), (-16,47.78,-15.44,50.38), (-13.93,47.81,-13.43,48.31), (-29.26,48.8,-27.68,49.36), (-28.24,48.8,-27.68,50.38), (-1.72,48.8,-1.16,50.38), (-1.72,48.8,1.9,49.36), (1.34,48.8,1.9,50.38), (-28.24,49.82,-14.42,50.38), (-14.98,49.82,-0.14,50.38), (1.34,49.82,15.16,50.38), (14.6,49.82,28.42,50.38), (14.63,49.85,15.13,50.35), (27.89,49.85,28.39,50.35)])
R(ota, metal3_pin, [(6.95,-3.22,7.51,-2.66), (-2.6,4.06,-2.32,4.34), (-7.84,49.82,-7.28,50.38)])
A(ota, metal4, -29.23, -3.19, 0.5, 0.5, 3, 2, 14.28, 53.04)
R(ota, metal4, [(14.63,-3.19,15.13,-2.69), (27.89,-3.19,28.39,-2.69), (-2.71,9.05,-2.21,9.55), (-2.6,9.16,-2.32,25.76), (-2.71,25.37,-2.21,25.87), (-0.67,27.41,-0.17,27.91), (-0.56,27.52,-0.28,47.18), (-0.67,46.79,-0.17,47.29), (14.63,49.85,15.13,50.35), (27.89,49.85,28.39,50.35)])
R(ota, metal4_pin, [(-0.56,37.21,-0.28,37.49)])
A(ota, metal5, -29.23, -3.19, 0.5, 0.5, 3, 2, 14.28, 53.04)
R(ota, metal5, [(-29.04,-3.94,29.04,-1.94), (14.63,-3.19,15.13,-2.69), (27.89,-3.19,28.39,-2.69), (-29.04,49.1,29.04,51.1), (14.63,49.85,15.13,50.35), (27.89,49.85,28.39,50.35)])
R(ota, lvpwell, [(-9.64,0,-3.78,7.09), (-2.78,0,9.64,11.09), (-6.36,17.09,-0.5,28.18), (0.5,17.09,6.36,28.18)])
ota.add(gdstk.Label('IBIAS', (-2.46,4.2), layer=42, texttype=10))
ota.add(gdstk.Label('OUT', (-0.42,37.35), layer=46, texttype=10))
ota.add(gdstk.Label('INN', (-3.03,18.69), layer=36, texttype=10))
ota.add(gdstk.Label('INP', (3.83,18.69), layer=36, texttype=10))
ota.add(gdstk.Label('VSS', (7.23,-2.94), layer=42, texttype=10))
ota.add(gdstk.Label('VDD', (-7.56,50.1), layer=42, texttype=10))

lib.write_gds('ota.gds')
